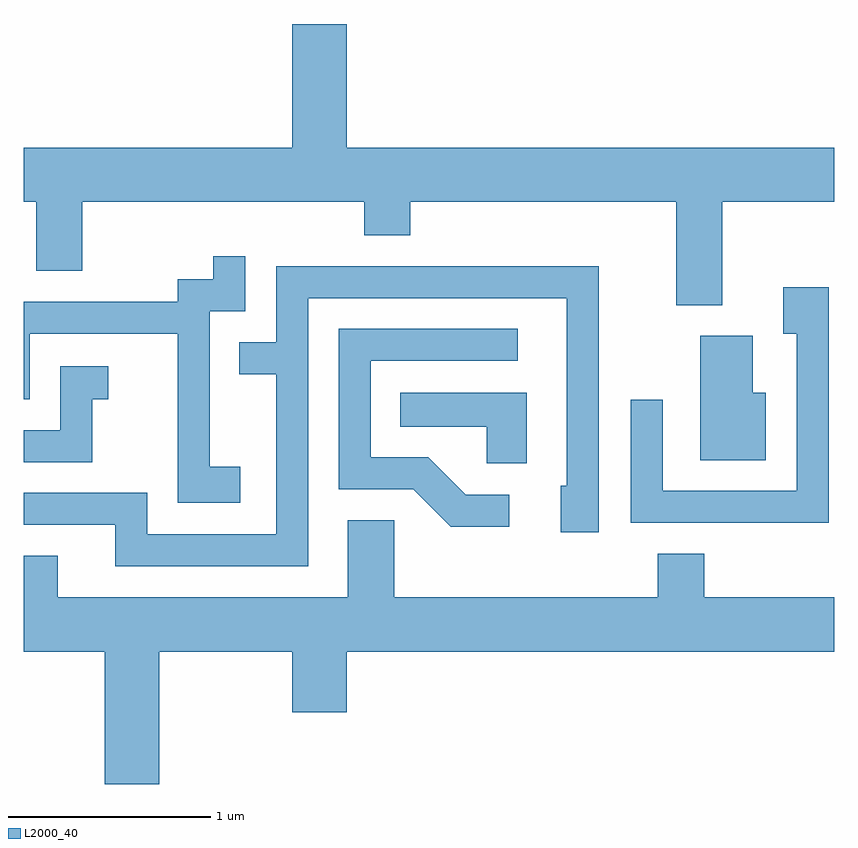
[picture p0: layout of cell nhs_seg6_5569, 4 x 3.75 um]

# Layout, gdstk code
import gdstk
lib = gdstk.Library(unit=1e-6, precision=1e-09)
def P(c, l, *ps):  # polygons
    for p in ps: c.add(gdstk.Polygon(p, *l))
L2000_40 = (2000, 40)

nhs_seg6_5569 = lib.new_cell('nhs_seg6_5569')
P(nhs_seg6_5569, L2000_40, [(357.059,1661.036),(357.611,1661.036),(357.611,1661.304),(355.204,1661.304),(355.204,1661.914),(354.936,1661.914),(354.936,1661.304),(353.611,1661.304),(353.611,1661.036),(353.671,1661.036),(353.671,1660.696),(353.899,1660.696),(353.899,1661.036),(355.291,1661.036),(355.291,1660.871),(355.519,1660.871),(355.519,1661.036),(356.831,1661.036),(356.831,1660.526),(357.059,1660.526)],
  [(354.679,1659.729),(354.529,1659.729),(354.529,1660.496),(354.704,1660.496),(354.704,1660.768),(354.546,1660.768),(354.546,1660.654),(354.371,1660.654),(354.371,1660.544),(353.611,1660.544),(353.611,1660.061),(353.639,1660.061),(353.639,1660.386),(354.371,1660.386),(354.371,1659.551),(354.679,1659.551)],
  [(355.014,1660.561),(356.291,1660.561),(356.291,1659.634),(356.261,1659.634),(356.261,1659.406),(356.449,1659.406),(356.449,1660.719),(354.856,1660.719),(354.856,1660.344),(354.673,1660.344),(354.673,1660.186),(354.856,1660.186),(354.856,1659.394),(354.219,1659.394),(354.219,1659.599),(353.611,1659.599),(353.611,1659.441),(354.061,1659.441),(354.061,1659.236),(355.014,1659.236)],
  [(357.584,1660.614),(357.361,1660.614),(357.361,1660.386),(357.426,1660.386),(357.426,1659.609),(356.764,1659.609),(356.764,1660.058),(356.606,1660.058),(356.606,1659.451),(357.584,1659.451)],
  [(356.008,1659.589),(355.792,1659.589),(355.607,1659.774),(355.324,1659.774),(355.324,1660.251),(356.048,1660.251),(356.048,1660.409),(355.166,1660.409),(355.166,1659.616),(355.534,1659.616),(355.719,1659.431),(356.008,1659.431)],
  [(357.274,1660.094),(357.209,1660.094),(357.209,1660.374),(356.951,1660.374),(356.951,1659.761),(357.274,1659.761)],
  [(353.949,1660.061),(354.028,1660.061),(354.028,1660.224),(353.791,1660.224),(353.791,1659.909),(353.611,1659.909),(353.611,1659.751),(353.949,1659.751)],
  [(356.094,1660.094),(355.468,1660.094),(355.468,1659.926),(355.896,1659.926),(355.896,1659.746),(356.094,1659.746)],
  [(354.279,1658.816),(354.936,1658.816),(354.936,1658.516),(355.204,1658.516),(355.204,1658.816),(357.611,1658.816),(357.611,1659.084),(356.969,1659.084),(356.969,1659.299),(356.741,1659.299),(356.741,1659.084),(355.439,1659.084),(355.439,1659.464),(355.211,1659.464),(355.211,1659.084),(353.779,1659.084),(353.779,1659.289),(353.611,1659.289),(353.611,1658.816),(354.011,1658.816),(354.011,1658.162),(354.279,1658.162)])

lib.write_gds('nhs_seg6_5569.gds')
